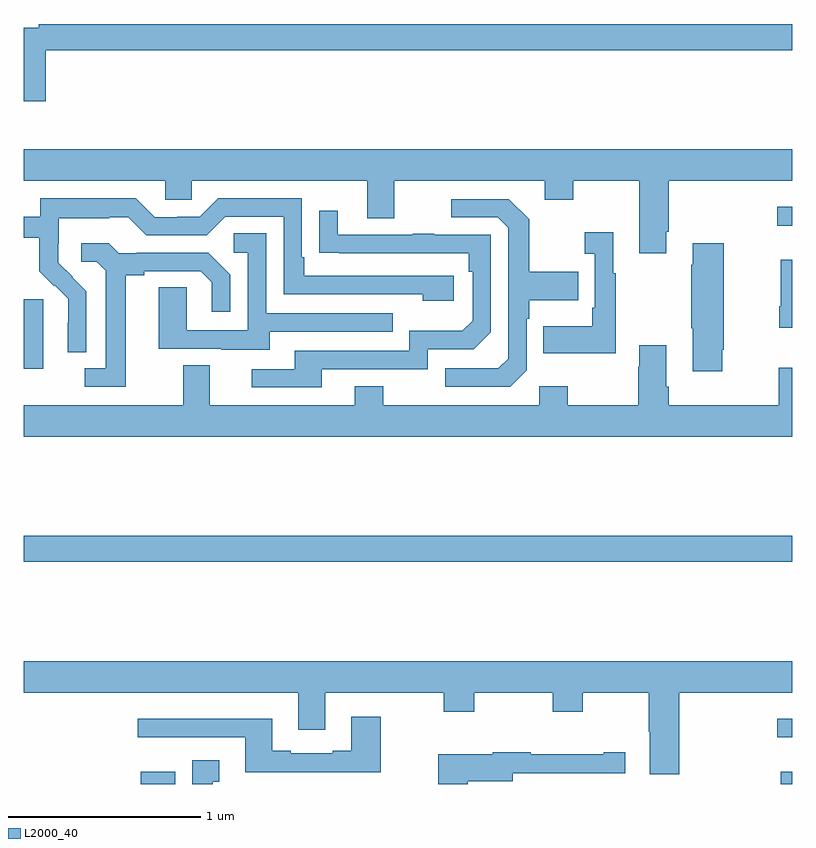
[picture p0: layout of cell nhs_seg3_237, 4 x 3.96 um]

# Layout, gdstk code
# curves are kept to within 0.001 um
import gdstk
lib = gdstk.Library(unit=1e-6, precision=1e-09)
def R(c, l, rs):  # rectangles x0, y0, x1, y1
    for r in rs: c.add(gdstk.rectangle(r[:2], r[2:], *l))
def P(c, l, *ps):  # polygons
    for p in ps: c.add(gdstk.Polygon(p, *l))
L2000_40 = (2000, 40)

nhs_seg3_237 = lib.new_cell('nhs_seg3_237')
R(nhs_seg3_237, L2000_40, [(121.61,740.4,121.789,740.464), (124.94,740.4,125,740.464), (124.923,740.643,125,740.74), (121,741.556,125,741.692), (121,742.562,121.102,742.923), (124.923,743.307,125,743.404)])
P(nhs_seg3_237, L2000_40, [(121.115,744.22),(125,744.22),(125,744.356),(121.078,744.356),(121.078,744.336),(121,744.336),(121,743.955),(121.115,743.955)],
  [(124.345,743.275),(124.358,743.275),(124.358,743.54),(125,743.54),(125,743.704),(121,743.704),(121,743.54),(121.737,743.54),(121.737,743.442),(121.875,743.442),(121.875,743.54),(122.789,743.54),(122.789,743.346),(122.929,743.346),(122.929,743.54),(123.713,743.54),(123.713,743.441),(123.861,743.441),(123.861,743.54),(124.205,743.54),(124.205,743.163),(124.345,743.163)],
  [(121.326,742.966),(121.18,743.114),(121.18,743.211),(121.182,743.211),(121.182,743.345),(121.445,743.345),(121.445,743.349),(121.545,743.349),(121.638,743.256),(121.953,743.256),(122.049,743.352),(122.352,743.352),(122.352,742.95),(123.077,742.95),(123.077,742.916),(123.238,742.916),(123.238,743.046),(122.461,743.046),(122.461,743.143),(122.448,743.143),(122.448,743.448),(122.013,743.448),(121.917,743.352),(121.799,743.352),(121.799,743.349),(121.683,743.349),(121.583,743.449),(121.086,743.449),(121.086,743.352),(121,743.352),(121,743.244),(121.081,743.244),(121.081,743.069),(121.158,742.992),(121.161,742.995),(121.232,742.925),(121.232,742.802),(121.23,742.802),(121.23,742.648),(121.326,742.648)],
  [(123.618,742.554),(123.618,742.823),(123.631,742.823),(123.631,742.919),(123.887,742.919),(123.887,743.067),(123.631,743.067),(123.631,743.339),(123.525,743.445),(123.225,743.445),(123.225,743.349),(123.468,743.349),(123.522,743.295),(123.522,742.614),(123.471,742.563),(123.195,742.563),(123.195,742.467),(123.531,742.467)],
  [(122.551,742.56),(123.102,742.56),(123.102,742.662),(123.342,742.662),(123.432,742.752),(123.432,743.259),(123.137,743.259),(123.137,743.264),(123.025,743.264),(123.025,743.259),(122.635,743.259),(122.635,743.383),(122.539,743.383),(122.539,743.164),(123.316,743.163),(123.316,743.066),(123.336,743.066),(123.336,742.812),(123.283,742.759),(123.006,742.759),(123.006,742.656),(122.411,742.656),(122.411,742.56),(122.187,742.56),(122.187,742.464),(122.551,742.464)],
  [(124.081,743.059),(124.069,743.059),(124.069,743.272),(123.921,743.272),(123.921,743.159),(123.972,743.159),(123.972,742.879),(123.96,742.879),(123.96,742.783),(123.703,742.783),(123.703,742.643),(124.081,742.643)],
  [(122.281,742.755),(122.921,742.755),(122.921,742.851),(122.262,742.851),(122.262,743.267),(122.094,743.267),(122.094,743.166),(122.166,743.166),(122.166,742.761),(121.848,742.761),(121.848,742.985),(121.703,742.985),(121.703,742.665),(122.027,742.665),(122.027,742.661),(122.281,742.661)],
  [(124.636,742.66),(124.644,742.66),(124.644,743.215),(124.481,743.215),(124.481,743.102),(124.474,743.102),(124.474,742.771),(124.481,742.771),(124.481,742.548),(124.636,742.548)],
  [(121.531,743.048),(121.627,743.048),(121.627,743.07),(121.922,743.07),(121.979,743.013),(121.979,742.857),(122.076,742.857),(122.076,743.05),(121.96,743.166),(121.588,743.166),(121.588,743.163),(121.494,743.163),(121.442,743.215),(121.299,743.215),(121.299,743.118),(121.38,743.118),(121.427,743.071),(121.427,742.563),(121.317,742.563),(121.317,742.467),(121.531,742.467)],
  [(125,743.128),(124.94,743.128),(124.94,742.888),(124.933,742.888),(124.933,742.776),(125,742.776)],
  [(125,742.567),(124.931,742.567),(124.931,742.372),(124.358,742.372),(124.358,742.468),(124.345,742.468),(124.345,742.684),(124.205,742.684),(124.205,742.571),(124.198,742.571),(124.198,742.372),(123.831,742.372),(123.831,742.471),(123.684,742.471),(123.684,742.372),(122.871,742.372),(122.871,742.471),(122.723,742.471),(122.723,742.372),(121.969,742.372),(121.969,742.58),(121.829,742.58),(121.829,742.372),(121,742.372),(121,742.208),(125,742.208)],
  [(124.412,740.876),(125,740.876),(125,741.04),(121,741.04),(121,740.876),(122.429,740.876),(122.429,740.682),(122.569,740.682),(122.569,740.876),(123.185,740.876),(123.185,740.777),(123.345,740.777),(123.345,740.876),(123.754,740.876),(123.754,740.777),(123.909,740.777),(123.909,740.876),(124.252,740.876),(124.252,740.672),(124.259,740.672),(124.259,740.451),(124.412,740.451)],
  [(122.858,740.749),(122.705,740.749),(122.705,740.572),(122.609,740.572),(122.609,740.559),(122.389,740.559),(122.389,740.572),(122.293,740.572),(122.293,740.74),(121.593,740.74),(121.593,740.643),(122.153,740.643),(122.153,740.462),(122.858,740.462)],
  [(123.312,740.414),(123.544,740.414),(123.544,740.457),(123.856,740.457),(123.856,740.456),(124.132,740.456),(124.132,740.566),(124.019,740.566),(124.019,740.556),(123.64,740.556),(123.64,740.566),(123.44,740.566),(123.44,740.554),(123.157,740.554),(123.157,740.4),(123.312,740.4)],
  [(121.984,740.411),(122.017,740.411),(122.017,740.524),(121.877,740.524),(121.877,740.4),(121.984,740.4)])

lib.write_gds('nhs_seg3_237.gds')
